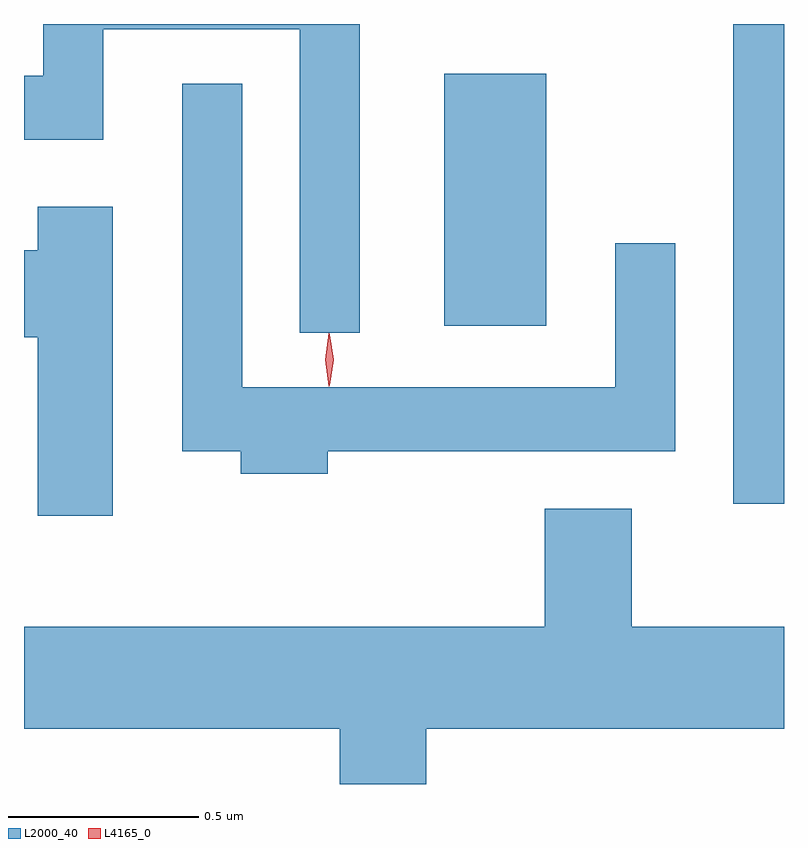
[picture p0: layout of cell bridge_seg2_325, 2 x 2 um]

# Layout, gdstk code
import gdstk
lib = gdstk.Library(unit=1e-6, precision=1e-09)
def R(c, l, rs):  # rectangles x0, y0, x1, y1
    for r in rs: c.add(gdstk.rectangle(r[:2], r[2:], *l))
def P(c, l, *ps):  # polygons
    for p in ps: c.add(gdstk.Polygon(p, *l))
L2000_40 = (2000, 40)
L4165_0 = (4165, 0)

bridge_seg2_325 = lib.new_cell('bridge_seg2_325')
R(bridge_seg2_325, L2000_40, [(412.856,1068.888,412.99,1070.15), (412.096,1069.356,412.364,1070.019)])
P(bridge_seg2_325, L2000_40, [(411.874,1070.15),(411.041,1070.15),(411.041,1070.014),(410.99,1070.014),(410.99,1069.846),(411.199,1069.846),(411.199,1070.136),(411.716,1070.136),(411.716,1069.338),(411.874,1069.338)],
  [(411.789,1069.026),(412.704,1069.026),(412.704,1069.573),(412.546,1069.573),(412.546,1069.194),(411.564,1069.194),(411.564,1069.993),(411.406,1069.993),(411.406,1069.026),(411.561,1069.026),(411.561,1068.966),(411.789,1068.966)],
  [(411.224,1069.669),(411.026,1069.669),(411.026,1069.554),(410.99,1069.554),(410.99,1069.326),(411.026,1069.326),(411.026,1068.856),(411.224,1068.856)],
  [(412.049,1068.296),(412.99,1068.296),(412.99,1068.564),(412.589,1068.564),(412.589,1068.874),(412.361,1068.874),(412.361,1068.564),(410.99,1068.564),(410.99,1068.296),(411.821,1068.296),(411.821,1068.15),(412.049,1068.15)])
P(bridge_seg2_325, L4165_0, [(411.792,1069.197),(411.783,1069.267),(411.792,1069.336),(411.793,1069.336),(411.793,1069.336),(411.803,1069.267),(411.793,1069.197),(411.793,1069.197)],
  [(411.795,1069.199),(411.794,1069.2),(411.785,1069.266),(411.794,1069.332),(411.795,1069.333),(411.795,1069.332),(411.805,1069.266),(411.795,1069.2)])

lib.write_gds('bridge_seg2_325.gds')
